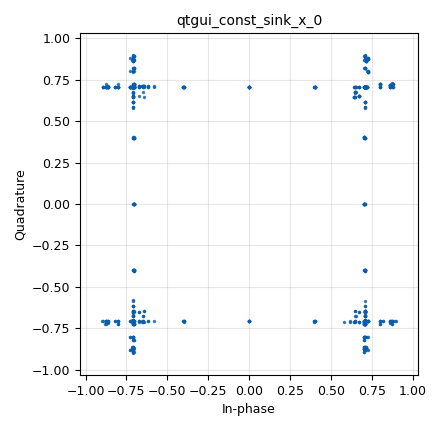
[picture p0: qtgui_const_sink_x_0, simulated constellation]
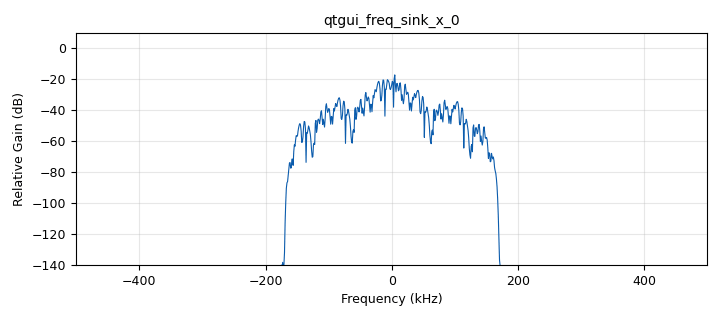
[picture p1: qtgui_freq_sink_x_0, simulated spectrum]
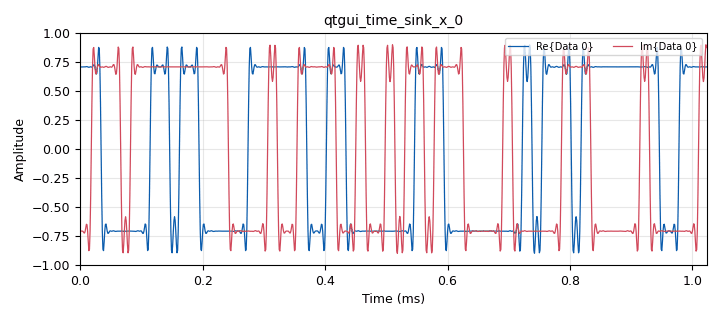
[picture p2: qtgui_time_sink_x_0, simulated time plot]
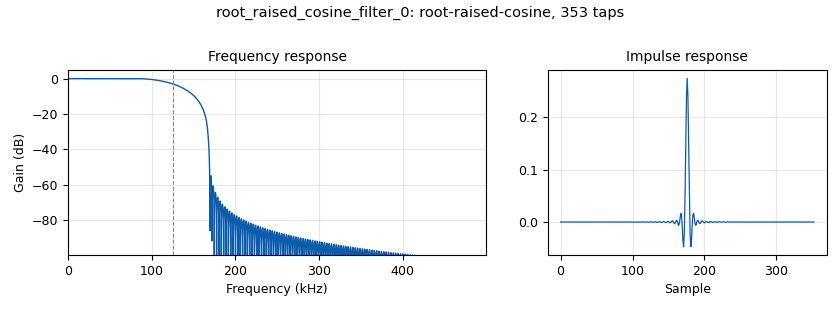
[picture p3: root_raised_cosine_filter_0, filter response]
options:
  parameters:
    author: Kumar Anil
    generate_options: qt_gui
    id: QPSK_transmitter
    output_language: python
    title: qpsk_transmit
  states: {}

blocks:
- name: samp_rate
  id: variable
  parameters:
    value: int(1e6)
  states: {}
- name: variable_constellation_rect_0
  id: variable_constellation_rect
  parameters:
    const_points: '[-1-1j, -1+1j, 1+1j, 1-1j]'
    imag_sect: '2'
    real_sect: '2'
    rot_sym: '4'
    sym_map: '[0, 1, 3, 2]'
    w_imag_sect: '1'
    w_real_sect: '1'
  states: {}
- name: analog_random_source_x_0
  id: analog_random_source_x
  parameters:
    max: '3'
    min: '0'
    num_samps: '100000'
    repeat: 'True'
    type: byte
  states: {}
- name: digital_constellation_modulator_0
  id: digital_constellation_modulator
  parameters:
    constellation: variable_constellation_rect_0
    differential: 'True'
    excess_bw: '0.35'
    samples_per_symbol: '4'
  states: {}
- name: iio_pluto_sink_0
  id: iio_pluto_sink
  parameters:
    attenuation1: '10.0'
    bandwidth: '20000000'
    buffer_size: '32768'
    cyclic: 'False'
    filter_source: '''Auto'''
    frequency: '433000000'
    samplerate: samp_rate
    type: fc32
  states: {}
- name: qtgui_const_sink_x_0
  id: qtgui_const_sink_x
  parameters:
    autoscale: 'True'
    size: '1024'
    type: complex
  states: {}
- name: qtgui_freq_sink_x_0
  id: qtgui_freq_sink_x
  parameters:
    bw: samp_rate
    fc: '0'
    fftsize: '1024'
    type: complex
  states: {}
- name: qtgui_time_sink_x_0
  id: qtgui_time_sink_x
  parameters:
    size: '1024'
    srate: samp_rate
    type: complex
  states: {}
- name: root_raised_cosine_filter_0
  id: root_raised_cosine_filter
  parameters:
    alpha: '0.35'
    decim: '1'
    gain: '1'
    ntaps: '352'
    samp_rate: samp_rate
    sym_rate: samp_rate/4
    type: fir_filter_ccf
  states: {}
- name: zeromq_pub_sink_0
  id: zeromq_pub_sink
  parameters:
    address: tcp://*:50001
    timeout: '100'
    type: complex
  states: {}

connections:
- [analog_random_source_x_0, '0', digital_constellation_modulator_0, '0']
- [digital_constellation_modulator_0, '0', root_raised_cosine_filter_0, '0']
- [root_raised_cosine_filter_0, '0', iio_pluto_sink_0, '0']
- [root_raised_cosine_filter_0, '0', qtgui_const_sink_x_0, '0']
- [root_raised_cosine_filter_0, '0', qtgui_freq_sink_x_0, '0']
- [root_raised_cosine_filter_0, '0', qtgui_time_sink_x_0, '0']
- [root_raised_cosine_filter_0, '0', zeromq_pub_sink_0, '0']

metadata:
  file_format: 1
  grc_version: 3.10.12.0
